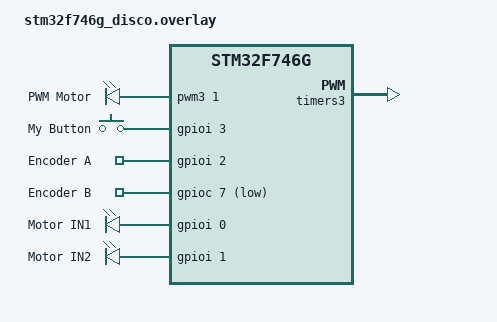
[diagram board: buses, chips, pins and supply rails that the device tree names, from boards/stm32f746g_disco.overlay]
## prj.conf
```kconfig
CONFIG_GPIO=y
CONFIG_CONSOLE=y
CONFIG_UART_CONSOLE=y
CONFIG_MAIN_THREAD_PRIORITY=5
CONFIG_THREAD_NAME=y
CONFIG_PWM=y
CONFIG_UART_LINE_CTRL=y
CONFIG_SERIAL=y
CONFIG_UART_INTERRUPT_DRIVEN=y
CONFIG_MAIN_THREAD_PRIORITY=5
CONFIG_THREAD_NAME=y
CONFIG_SYSTEM_WORKQUEUE_STACK_SIZE=1024
CONFIG_SENSOR=y
CONFIG_QDEC_STM32=y           # STM32 quadrature decoder driver
CONFIG_CBPRINTF_FP_SUPPORT=y
CONFIG_SYS_CLOCK_TICKS_PER_SEC=1000
```

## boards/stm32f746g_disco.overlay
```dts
/ {
    aliases {
        pwm-motor = &motor_pwm;    
        e-stop = &my_button;
        motor-in1 = &motor_in1_node;
        motor-in2 = &motor_in2_node;
        encoder-a = &encoder_a_node;
        encoder-b = &encoder_b_node;
    };

    pwmleds {
        compatible = "pwm-leds";
        motor_pwm: pwm_motor_node {
            pwms = <&pwm3 1 PWM_MSEC(20) PWM_POLARITY_NORMAL>;
            label = "PWM Motor";
        };
    };

    buttons {
        compatible = "gpio-keys";
        my_button: my_button_0 {
            gpios = <&gpioi 3 (GPIO_ACTIVE_HIGH | GPIO_PULL_UP)>;
            label = "My Button";
        };

        encoder_a_node: encoder_a {
            gpios = <&gpioi 2 (GPIO_ACTIVE_HIGH | GPIO_PULL_UP)>;  /* PC7 = D0 */
            label = "Encoder A";
        };
        encoder_b_node: encoder_b {
            gpios = <&gpioc 7 (GPIO_ACTIVE_LOW | GPIO_PULL_UP)>;  /* PI2 = D8 */
            label = "Encoder B";
        };
    };

    gpio_outs {
        compatible = "gpio-leds";
        motor_in1_node: motor_in1 {
            gpios = <&gpioi 0 GPIO_ACTIVE_HIGH>;   /* PI0 — D5 */
            label = "Motor IN1";
        };
        motor_in2_node: motor_in2 {
            gpios = <&gpioi 1 GPIO_ACTIVE_HIGH>;   /* PI1 — D13 */
            label = "Motor IN2";
        };
        
    };
};

&timers3 {
    status = "okay";
    pwm3: pwm {
        status = "okay";
        pinctrl-0 = <&tim3_ch1_pb4>;
        pinctrl-names = "default";
    };
};

&gpioi {
    status = "okay";
};
&gpiog {
    status = "okay";
};
```

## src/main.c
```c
#include <stdio.h>
#include <stdlib.h>
#include <zephyr/kernel.h>
#include <zephyr/drivers/gpio.h>
#include <zephyr/drivers/pwm.h>
#include <zephyr/drivers/uart.h>
#include <zephyr/device.h>
#include <zephyr/console/console.h>
#include <string.h>


static char rx_buf[50];

#define CONSOLE_STACK 1024

/* 1000 msec = 1 sec */
#define SLEEP_MSEC   50

// struct k_work myWork;
// struct k_work pwm_work;

int brightness =0;

int64_t end_time;
int64_t start_time;
int64_t total_time;

#define ENCODER_PPR          64      /* pulses per rev, motor shaft */
#define GEAR_RATIO           70      /* gearbox ratio */
#define PULSES_PER_OUT_REV   (ENCODER_PPR * GEAR_RATIO)  /* = 4480 */
#define PULSES_COUNTED       16       /* edges counted per ISR batch */
#define KP               0.3f
#define PLACEHOLDER_M   2.61f    // duty per RPM
#define PLACEHOLDER_B   -14.4f  // duty offset
#define PWM_PERIOD_NS    20000U  /* 50 kHz — adjust to your motor driver */



unsigned char uart;
static int rx_idx =0;
volatile bool rx_ready = false;
int8_t ticks;
/*
 * A build error on this line means your board is unsupported.
 * See the sample documentation for information on how to fix this. */


// static const struct gpio_dt_spec led = GPIO_DT_SPEC_GET(LED0_NODE, gpios);
// static const struct gpio_dt_spec btn = GPIO_DT_SPEC_GET(DT_ALIAS(sw0), gpios);

K_MSGQ_DEFINE(uart_msgq, 50, 4, 4);
K_MSGQ_DEFINE(en_msgq, sizeof(int), 1, 4);

K_MSGQ_DEFINE(target_rpm_msgq, sizeof(int), 1, 4);
K_MSGQ_DEFINE(ticks_msgq, sizeof(int64_t), 1, 4);

K_MSGQ_DEFINE(measured_rpm_msgq, sizeof(float), 1, 4);

K_MSGQ_DEFINE(output_msgq, sizeof(float), 1, 4);

K_MSGQ_DEFINE(btn_msgq, 38, 1, 4);

K_THREAD_STACK_DEFINE(console_stack, CONSOLE_STACK);
K_THREAD_STACK_DEFINE(consumer_stack, CONSOLE_STACK);

const struct device *const uart_dev = DEVICE_DT_GET(DT_CHOSEN(zephyr_console));
static const struct pwm_dt_spec motor = PWM_DT_SPEC_GET(DT_ALIAS(pwm_motor));
static const struct gpio_dt_spec in1 = GPIO_DT_SPEC_GET(DT_ALIAS(motor_in1), gpios);
static const struct gpio_dt_spec in2 = GPIO_DT_SPEC_GET(DT_ALIAS(motor_in2), gpios);
static const struct gpio_dt_spec btn = GPIO_DT_SPEC_GET(DT_ALIAS(e_stop), gpios);

static const struct gpio_dt_spec ena = GPIO_DT_SPEC_GET(DT_ALIAS(encoder_a), gpios);
static const struct gpio_dt_spec enb = GPIO_DT_SPEC_GET(DT_ALIAS(encoder_b), gpios);


K_SEM_DEFINE(rx_ready_sem, 0, 1);

static bool motor_enabled = true;
K_MUTEX_DEFINE(motor_enabled_mutex);   // unchanged
K_MUTEX_DEFINE(brightness_mutex);     // unchanged

static struct gpio_callback button_cb_data;
static struct gpio_callback encoder_cb_data;

// void my_work_handler(struct k_work *work) {
//     printk("Work processed\n");

// }

void button_pressed(const struct device *dev, struct gpio_callback *cb,
		    uint32_t pins)
{
    //    motor_enabled = false;
	   int local = 0;

	   k_msgq_put(&en_msgq, &local, K_NO_WAIT);
	   char printBuff[] = "ESTOP pressed! Enter RESET to enable.";
	   k_msgq_put(&btn_msgq, printBuff, K_NO_WAIT);

}

void ticks_isr(const struct device *dev, struct gpio_callback *cb, uint32_t pins)
{
	int64_t now = k_uptime_ticks();

    if (ticks == 0) {
        start_time = now;
    }

    ticks++;

    if (ticks >= 16) {
        int64_t elapsed = now - start_time;

        k_msgq_put(&ticks_msgq, &elapsed, K_NO_WAIT);
        ticks = 0;
        start_time = 0;
    }
}

void consumer_ticks() {
    int64_t time_elapsed;
	float target_rpm = 0;
	float measured_rpm = 0;

	while (1) {
        if (k_msgq_get(&ticks_msgq, &time_elapsed, K_FOREVER) == 0) {

            /* Convert elapsed ticks to seconds as a double */
            double elapsed_s = (double)time_elapsed / (double)CONFIG_SYS_CLOCK_TICKS_PER_SEC;

			measured_rpm = (float)(((double)PULSES_COUNTED
                                / (double)PULSES_PER_OUT_REV)
                                / elapsed_s * 60.0);

			//printk("Measured RPM = %d\n", (int)measured_rpm);
			k_msgq_purge(&measured_rpm_msgq);
			k_msgq_put(&measured_rpm_msgq, &measured_rpm, K_NO_WAIT);								
			int new_target;
            if (k_msgq_get(&target_rpm_msgq, &new_target, K_NO_WAIT) == 0) {
                target_rpm = (float)new_target;
            }

			/* 2. P control */
			float base_pwm = PLACEHOLDER_M * target_rpm + PLACEHOLDER_B;
			float error  = target_rpm - measured_rpm;
			float output = base_pwm + KP * error;

			if (output < 0.0f)   output = 0.0f;
			if (output > 100.0f) output = 100.0f;  

	// 		printk("target=%.1f measured=%.1f error=%.1f base=%.1f output=%.1f\n",
    //    (double)target_rpm, (double)measured_rpm, 
    //    (double)error, (double)base_pwm, (double)output);



			k_msgq_purge(&output_msgq);
			k_msgq_put(&output_msgq, &output, K_NO_WAIT);
			// k_msgq_overwrite(&output_msgq, &output);
            
        }
    }
}



static void uart_fifo_callback(const struct device *dev, void *user_data)
{
	uint8_t c;

	if(!uart_irq_update(uart_dev)) return;
    if(!uart_irq_rx_ready(uart_dev) ) return ;

	while(uart_fifo_read(uart_dev, &c,1)==1){

		uart_poll_out(uart_dev, c);

		if(c == '\r' || c == '\n'){

			rx_buf[rx_idx] = '\0';
			rx_idx=0;
			// rx_ready = true;
			k_msgq_put(&uart_msgq, rx_buf, K_NO_WAIT);
            k_sem_give(&rx_ready_sem);   

		}

		else if (rx_idx < sizeof(rx_buf)-1){
			rx_buf[rx_idx++] = c;
		}
	}
}


void console_thread(void *p1, void *p2, void *p3)
{
	char uart_rpm[10];
	float measured;


	printk("Enter target rpm: \n");

	k_sem_take(&rx_ready_sem, K_FOREVER);
    k_msgq_get(&uart_msgq, uart_rpm, K_NO_WAIT);

    int rpm = atoi(uart_rpm);
    if (rpm < 0 || rpm > 150) {
        printk("Invalid rpm, defaulting to 0\n");
        rpm = 0;
    }

    k_msgq_put(&target_rpm_msgq, &rpm, K_FOREVER);
    printk("Target RPM = %d\n", rpm);

	
	while(1){
        // if(k_msgq_get(&measured_rpm_msgq, &measured, K_NO_WAIT)==0)
        // // 	printk("Measured RPM = %f\n", measured);

		// k_sem_take(&rx_ready_sem, K_FOREVER);
		// k_msgq_get(&uart_msgq, uart_rpm, K_MSEC(2000));
        // // sscanf(buffer, "%9s %9s", duty_cycle, uart_rpm);
        
		// bool reset = strcmp(uart_rpm, "RESET") == 0;

		// if(reset) {
		// 	k_mutex_lock(&motor_enabled_mutex, K_FOREVER);
		// 	motor_enabled = true;
		// 	k_mutex_unlock(&motor_enabled_mutex);
		// 	printk("Motor reset. You can now set duty cycle.\n");
		// 	continue;

		// } 
			
		// // int duty = atoi(duty_cycle);

        // int rpm = atoi(uart_rpm);

		// // duty = 100 - duty;

		// // if(duty < 0 || duty > 100){
		// // 	printk("invalid duty cycle\n");
		// // 	continue;
		// // }

        // if(rpm < 0 || rpm > 150) {
        //     printk("Invalid rpm\n");
        //     continue;
        // }

        // k_mutex_lock(&motor_enabled_mutex, K_FOREVER);   // CHANGE: added
        // bool enabled = motor_enabled;
        // k_mutex_unlock(&motor_enabled_mutex);            // CHANGE: added

		// if(!enabled){
		// 	printk("Motor disabled! Press RESET to enable.\n");
		// 	continue;
		// }

	    // k_msgq_put(&en_msgq, &duty, K_NO_WAIT);  

	    // if(k_msgq_put(&target_rpm_msgq, &rpm, K_NO_WAIT) == 0)
		if (k_msgq_get(&measured_rpm_msgq, &measured, K_FOREVER) == 0) {
            printk("Target rpm = %d, Measured RPM = %d\n", rpm, (int)measured);
        }

	}
}


int main(void)
{
   int ret;
	// console_init();

	// task 2: device is ready checks

	gpio_pin_configure_dt(&in1, GPIO_OUTPUT_ACTIVE);
	gpio_pin_configure_dt(&in2, GPIO_OUTPUT_ACTIVE);

    ret = gpio_pin_configure_dt(&ena, GPIO_INPUT);
    if(ret < 0) return 0;

	
	ret = gpio_pin_interrupt_configure_dt(&ena, GPIO_INT_EDGE_TO_ACTIVE);
    if(ret < 0) return 0;

	if (!device_is_ready(uart_dev) ||
	    !pwm_is_ready_dt(&motor) ||
	    !device_is_ready(btn.port)) {
		return 0;
	}



	ret = gpio_pin_configure_dt(&btn, GPIO_INPUT);


	if (ret < 0) {
		return 0;
	}

    ret = gpio_pin_interrupt_configure_dt(&btn, GPIO_INT_EDGE_TO_ACTIVE);
    if (ret < 0) {
		return 0;
	}

    gpio_init_callback(&button_cb_data, button_pressed, BIT(btn.pin));
	gpio_add_callback(btn.port, &button_cb_data);

    gpio_init_callback(&encoder_cb_data, ticks_isr, BIT(ena.pin));
    gpio_add_callback(ena.port, &encoder_cb_data);


	//uint32_t pulse = 1000;
	// k_work_init(&pwm_work, update_pwm_handler);

	uart_irq_callback_set(uart_dev, uart_fifo_callback);
	uart_irq_rx_enable(uart_dev);

	struct k_thread console_thread_data;

	k_thread_create(&console_thread_data, console_stack,
                    K_THREAD_STACK_SIZEOF(console_stack),
                    console_thread, NULL, NULL, NULL,
                    5, 0, K_NO_WAIT);
	
    
	struct k_thread consumer_thread_data;

	k_thread_create(&consumer_thread_data, consumer_stack,
                    K_THREAD_STACK_SIZEOF(consumer_stack),
                    consumer_ticks, NULL, NULL, NULL,
                    3, 0, K_NO_WAIT);

	char printBuff[37];
	float output = 90;
	int local_pwm = 90;




	while (1) {

		if(k_msgq_get(&btn_msgq, printBuff, K_NO_WAIT) == 0) {
			printk("%s\n", printBuff);

            k_mutex_lock(&motor_enabled_mutex, K_FOREVER);   // CHANGE: added
            motor_enabled = false;
            k_mutex_unlock(&motor_enabled_mutex);            // CHANGE: added
		}

        k_msgq_get(&en_msgq, &local_pwm, K_NO_WAIT);

        // int local_target_rpm = 0;
        // k_msgq_get(&target_rpm_msgq, &local_target_rpm, K_NO_WAIT);

		int got_output = k_msgq_get(&output_msgq, &output, K_NO_WAIT);
		local_pwm = (int)output;
		// printk("PWM applying: %d (got=%d)\n", local_pwm, got_output);

        bool local_enabled;
        k_mutex_lock(&motor_enabled_mutex, K_FOREVER);   // CHANGE: added
        local_enabled = motor_enabled;
        k_mutex_unlock(&motor_enabled_mutex);            // CHANGE: added


		if(local_enabled){
			gpio_pin_set_dt(&in1,0);
			gpio_pin_set_dt(&in2, 1);
            pwm_set_pulse_dt(&motor, local_pwm * motor.period / 100);
        } else {
            pwm_set_pulse_dt(&motor, 0);
        }

       k_sleep(K_MSEC(20));

	}
	return 0;
}
```

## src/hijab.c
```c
#include <stdio.h>
#include <stdlib.h>
#include <zephyr/kernel.h>
#include <zephyr/drivers/gpio.h>
#include <zephyr/drivers/pwm.h>
#include <zephyr/drivers/uart.h>
#include <zephyr/device.h>
#include <zephyr/console/console.h>
#include <string.h>


static char rx_buf[50];

int freq = 0 ;
int rpm=0;
const int PPR = 64;
const int gear_ratio = 70;
const int ppr = PPR * gear_ratio;
static int  target_rpm = 50; 

#define CONSOLE_STACK 1024
#define SLEEP_MSEC   50

// struct k_work myWork;
// struct k_work pwm_work;

int brightness =0;
unsigned char uart;
static int rx_idx =0;
volatile bool rx_ready = false;

// static const struct gpio_dt_spec led = GPIO_DT_SPEC_GET(LED0_NODE, gpios);
// static const struct gpio_dt_spec btn = GPIO_DT_SPEC_GET(DT_ALIAS(sw0), gpios);

K_MSGQ_DEFINE(uart_msgq, 50, 4, 4);
K_MSGQ_DEFINE(en_msgq, sizeof(int), 1, 4);

K_MSGQ_DEFINE(btn_msgq, 38, 1, 4);
//ticks
K_MSGQ_DEFINE(ticks_msgq, 10, 1, 4);

static int ticks=0;
uint32_t start_time = 0;
uint32_t end_time =0;
uint32_t total_time=0;

K_THREAD_STACK_DEFINE(console_stack, CONSOLE_STACK);
const struct device *const uart_dev = DEVICE_DT_GET(DT_CHOSEN(zephyr_console));
static const struct pwm_dt_spec motor = PWM_DT_SPEC_GET(DT_ALIAS(pwm_motor));
static const struct gpio_dt_spec in1 = GPIO_DT_SPEC_GET(DT_ALIAS(motor_in1), gpios);
static const struct gpio_dt_spec in2 = GPIO_DT_SPEC_GET(DT_ALIAS(motor_in2), gpios);
static const struct gpio_dt_spec btn = GPIO_DT_SPEC_GET(DT_ALIAS(e_stop), gpios);

// hw3 ---------------------------------------------------
static const struct gpio_dt_spec ena = GPIO_DT_SPEC_GET(DT_ALIAS(encoder_a), gpios);
static const struct gpio_dt_spec enb = GPIO_DT_SPEC_GET(DT_ALIAS(encoder_b), gpios);
// -------------------------------------------------------

K_SEM_DEFINE(rx_ready_sem, 0, 1);

static bool motor_enabled = true;
K_MUTEX_DEFINE(motor_enabled_mutex);  
K_MUTEX_DEFINE(brightness_mutex); 
K_MUTEX_DEFINE(target_rpm_mutex);   

static struct gpio_callback button_cb_data;

void button_pressed(const struct device *dev, struct gpio_callback *cb,
		    uint32_t pins)
{
    //    motor_enabled = false;
	int local=0;
	   

	   k_msgq_put(&en_msgq, &local, K_NO_WAIT);
	   char printBuff[] = "ESTOP pressed! Enter RESET to enable.";
	   k_msgq_put(&btn_msgq, printBuff, K_NO_WAIT);

}

void ticks_isr(const struct device *dev, struct gpio_callback *cb, uint32_t pins)
{
		
		ticks++;

		if(ticks==8) { 

			end_time = k_cycle_get_32();
			total_time = end_time - start_time;
			start_time = end_time;
			ticks=0;

			k_msgq_put(&ticks_msgq, &total_time, K_FOREVER); 


		}

}

static void uart_fifo_callback(const struct device *dev, void *user_data)
{
	uint8_t duty_cycle;
	uint8_t uart_rpm;
	uint8_t c;

	if(!uart_irq_update(uart_dev)) return;
    if(!uart_irq_rx_ready(uart_dev) ) return ;

	while(uart_fifo_read(uart_dev, &c,1)==1){

		uart_poll_out(uart_dev, duty_cycle);
		uart_poll_out(uart_dev, uart_rpm);


		if(c == '\r' || c == '\n'){

			rx_buf[rx_idx] = '\0';
			// if (sscanf(rx_buf, "%c %c", &duty_cycle, &uart_rpm) == 2) {
			// 	printk("Received: duty cycle=%d, Var2=%d\n", duty_cycle, uart_rpm);
            // }
			
			rx_idx=0;
			// rx_ready = true;
			k_msgq_put(&uart_msgq, rx_buf, K_NO_WAIT);
            k_sem_give(&rx_ready_sem);   // CHANGE: signal after the put, not before

		}

		else if (rx_idx < sizeof(rx_buf)-1){
			rx_buf[rx_idx++] = c;

		}
	}
}


void console_thread(void *p1, void *p2, void *p3)
{
	// char buffer[50];
	char buffer_rpm[50];
	printk("Enter target RPM or RESET:\n");

	
	while(1){
		k_msgq_get(&uart_msgq, buffer_rpm, K_FOREVER);
        k_sem_take(&rx_ready_sem, K_FOREVER);

		if (strcmp(buffer_rpm, "RESET") == 0) {
            k_mutex_lock(&motor_enabled_mutex, K_FOREVER);
            motor_enabled = true;
            k_mutex_unlock(&motor_enabled_mutex);
            printk("Motor enabled.\n");
            continue;
        }

		int rpm_init = atoi(buffer_rpm);

        if (rpm_init <= 0 || rpm_init > 500) {
            printk("Invalid RPM. Enter 1-500.\n");
            continue;
        }

       k_mutex_lock(&motor_enabled_mutex, K_FOREVER);
        bool enabled = motor_enabled;
        k_mutex_unlock(&motor_enabled_mutex);

        if (!enabled) {
            printk("Motor disabled! Send RESET first.\n");
            continue;
        }

        k_mutex_lock(&target_rpm_mutex, K_FOREVER);
        target_rpm = rpm_init;
        k_mutex_unlock(&target_rpm_mutex);

        printk("Target RPM set to %d\n", rpm_init);


	}
}



// void console_thread(void *p1, void *p2, void *p3)
// {
//     char buffer[50];

//     printk("Console ready. Enter commands:\n");
//     printk("Format:\n");
//     printk("  D <0-100>   → Set Duty Cycle\n");
//     printk("  R <1-500>   → Set Target RPM\n");
//     printk("  RESET       → Enable motor\n");

//     while (1) {
//         // Wait for user input from UART message queue
//         k_msgq_get(&uart_msgq, buffer, K_FOREVER);
//         k_sem_take(&rx_ready_sem, K_FOREVER);

//         // Handle RESET
//         if (strcmp(buffer, "RESET") == 0) {
//             k_mutex_lock(&motor_enabled_mutex, K_FOREVER);
//             motor_enabled = true;
//             k_mutex_unlock(&motor_enabled_mutex);
//             printk("Motor reset and enabled.\n");
//             continue;
//         }

//         // Check command type (first character)
//         char cmd;
//         int value;
//         if (sscanf(buffer, "%c %d", &cmd, &value) != 2) {
//             printk("Invalid input format. Use 'D <0-100>' or 'R <1-500>' or 'RESET'.\n");
//             continue;
//         }

//         // Duty Cycle Command
//         if (cmd == 'D' || cmd == 'd') {
//             if (value < 0 || value > 100) {
//                 printk("Invalid duty cycle. Must be 0-100.\n");
//                 continue;
//             }

//             k_mutex_lock(&motor_enabled_mutex, K_FOREVER);
//             bool enabled = motor_enabled;
//             k_mutex_unlock(&motor_enabled_mutex);

//             if (!enabled) {
//                 printk("Motor disabled! Use RESET to enable.\n");
//                 continue;
//             }

//             k_mutex_lock(&brightness_mutex, K_FOREVER);
//             brightness = 100 - value; // Map user input to PWM logic if needed
//             k_mutex_unlock(&brightness_mutex);

//             printk("Duty cycle set to %d%%\n", value);
//         }
//         // RPM Command
//         else if (cmd == 'R' || cmd == 'r') {
//             if (value <= 0 || value > 500) {
//                 printk("Invalid RPM. Enter 1-500.\n");
//                 continue;
//             }

//             k_mutex_lock(&motor_enabled_mutex, K_FOREVER);
//             bool enabled = motor_enabled;
//             k_mutex_unlock(&motor_enabled_mutex);

//             if (!enabled) {
//                 printk("Motor disabled! Use RESET to enable.\n");
//                 continue;
//             }

//             k_mutex_lock(&target_rpm_mutex, K_FOREVER);
//             target_rpm = value;
//             k_mutex_unlock(&target_rpm_mutex);

//             printk("Target RPM set to %d\n", value);
//         }
//         else {
//             printk("Unknown command '%c'. Use D or R.\n", cmd);
//         }
//     }
// }

void consumer_ticks(void *p1, void *p2, void *p3)
{
    uint32_t ticks_time;
    float measured_rpm = 0;
    const uint32_t cycles_per_sec = sys_clock_hw_cycles_per_sec();
    float Kp = 2.5f;
     float m = 0.5f;  float b = 10.0f;  // placeholder will be replaced after characterization


    while (1) {
        k_msleep(100);
    
        if (k_msgq_get(&ticks_msgq, &ticks_time, K_NO_WAIT) == 0 && ticks_time > 0) {

            // measured_rpm = (int)(
            //     ((uint64_t)PULSE_BATCH * (uint64_t)cycles_per_sec * 60ULL)
            //     / ((uint64_t)ENCODER_PPR * (uint64_t)elapsed))
            float time_sec = (float)ticks_time / (float)cycles_per_sec;
            float f_pulse = 8.0f / time_sec;
            measured_rpm = (f_pulse * 60.0f) / ppr;

            printk("Measured RPM: %.2f\n", (double)measured_rpm);
        }

        k_mutex_lock(&target_rpm_mutex, K_FOREVER);
        int local_target = target_rpm;
        k_mutex_unlock(&target_rpm_mutex);

        
        k_mutex_lock(&motor_enabled_mutex, K_FOREVER);
        bool enabled = motor_enabled;
        k_mutex_unlock(&motor_enabled_mutex);

        if (!enabled) {
            k_mutex_lock(&brightness_mutex, K_FOREVER);
            brightness = 0;
            k_mutex_unlock(&brightness_mutex);
            printk(" Motor disabled\n");
            continue;
        }
        ////P-controller
        float base_pwm = m * local_target + b;
        float error = local_target - measured_rpm;
        float pwm = base_pwm + (Kp * error);

        if (pwm < 0) pwm = 0;
        if (pwm > 100) pwm = 100;

        k_mutex_lock(&brightness_mutex, K_FOREVER);
        brightness = pwm;
        k_mutex_unlock(&brightness_mutex);

        printk("Target RPM=%d, Measured=%.2f, Error=%.2f, PWM=%.2f%%\n", local_target, measured_rpm, error, pwm);
    }
}

int main(void)
{
   int ret;
	gpio_pin_configure_dt(&in1, GPIO_OUTPUT_ACTIVE);
	gpio_pin_configure_dt(&in2, GPIO_OUTPUT_ACTIVE);



	if (!device_is_ready(uart_dev) ||
	    !pwm_is_ready_dt(&motor) ||
	    !device_is_ready(btn.port)) {
		return 0;
	}
	ret = gpio_pin_configure_dt(&btn, GPIO_INPUT);


	if (ret < 0) {
		return 0;
	}

    ret = gpio_pin_interrupt_configure_dt(&btn, GPIO_INT_EDGE_TO_ACTIVE);
    if (ret < 0) {
		return 0;
	}

    gpio_init_callback(&button_cb_data, button_pressed, BIT(btn.pin));
	gpio_add_callback(btn.port, &button_cb_data);

	//uint32_t pulse = 1000;
	// k_work_init(&pwm_work, update_pwm_handler);

	uart_irq_callback_set(uart_dev, uart_fifo_callback);
	uart_irq_rx_enable(uart_dev);

	struct k_thread console_thread_data;

	k_thread_create(&console_thread_data, console_stack,
                    K_THREAD_STACK_SIZEOF(console_stack),
                    console_thread, NULL, NULL, NULL,
                    5, 0, K_NO_WAIT);
	
	char printBuff[37];


	while (1) {

		if(k_msgq_get(&btn_msgq, printBuff, K_FOREVER) == 0) {
			printk("%s\n", printBuff);

            k_mutex_lock(&motor_enabled_mutex, K_FOREVER);   // CHANGE: added
            motor_enabled = false;
            k_mutex_unlock(&motor_enabled_mutex);            // CHANGE: added
		}

		
        int local_en = 0;
        k_msgq_get(&en_msgq, &local_en, K_NO_WAIT);

		int local_brightness;
        k_mutex_lock(&brightness_mutex, K_FOREVER);   // CHANGE: added
        local_brightness = brightness;
        k_mutex_unlock(&brightness_mutex);            // CHANGE: added

        bool local_enabled;
        k_mutex_lock(&motor_enabled_mutex, K_FOREVER);   // CHANGE: added
        local_enabled = motor_enabled;
        k_mutex_unlock(&motor_enabled_mutex);            // CHANGE: added

		if (local_enabled) {
            gpio_pin_set_dt(&in1, 0);
            gpio_pin_set_dt(&in2, 1);
            pwm_set_pulse_dt(&motor, local_brightness * motor.period / 100);
        } else {
            pwm_set_pulse_dt(&motor, 0);
        }
    }


	return 0;
}
```

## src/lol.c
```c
#include <stdio.h>
#include <stdlib.h>
#include <zephyr/kernel.h>
#include <zephyr/drivers/gpio.h>
#include <zephyr/drivers/pwm.h>
#include <zephyr/drivers/uart.h>
#include <zephyr/device.h>
#include <zephyr/console/console.h>
#include <string.h>

static char rx_buf[50];

int freq = 0;
int rpm = 0;
const int PPR = 64;
const int gear_ratio = 70;
const int ppr = PPR * gear_ratio;
static int target_rpm = 50;

#define CONSOLE_STACK 1024
#define CONSUMER_STACK 1024      
// #define SLEEP_MSEC 50

int brightness = 0;
unsigned char uart;
static int rx_idx = 0;
volatile bool rx_ready = false;

K_MSGQ_DEFINE(uart_msgq, 50, 4, 4);
K_MSGQ_DEFINE(en_msgq, sizeof(int), 1, 4);

K_MSGQ_DEFINE(btn_msgq, 38, 1, 4);
//ticks
K_MSGQ_DEFINE(ticks_msgq, sizeof(uint32_t), 4, 4); 


static volatile int ticks = 0;
uint32_t start_time = 0;
uint32_t end_time = 0;
uint32_t total_time = 0;

K_THREAD_STACK_DEFINE(console_stack, CONSOLE_STACK);
K_THREAD_STACK_DEFINE(consumer_stack, CONSUMER_STACK); // FIX 1: add consumer stack

const struct device *const uart_dev = DEVICE_DT_GET(DT_CHOSEN(zephyr_console));
static const struct pwm_dt_spec motor = PWM_DT_SPEC_GET(DT_ALIAS(pwm_motor));
static const struct gpio_dt_spec in1 = GPIO_DT_SPEC_GET(DT_ALIAS(motor_in1), gpios);
static const struct gpio_dt_spec in2 = GPIO_DT_SPEC_GET(DT_ALIAS(motor_in2), gpios);
static const struct gpio_dt_spec btn = GPIO_DT_SPEC_GET(DT_ALIAS(e_stop), gpios);

// hw3 ---------------------------------------------------
static const struct gpio_dt_spec ena = GPIO_DT_SPEC_GET(DT_ALIAS(encoder_a), gpios);
static const struct gpio_dt_spec enb = GPIO_DT_SPEC_GET(DT_ALIAS(encoder_b), gpios);

K_SEM_DEFINE(rx_ready_sem, 0, 1);

static bool motor_enabled = true;
K_MUTEX_DEFINE(motor_enabled_mutex);
K_MUTEX_DEFINE(brightness_mutex);
K_MUTEX_DEFINE(target_rpm_mutex);

static struct gpio_callback button_cb_data;
static struct gpio_callback enc_a_cb_data;  // FIX 4: callbacks for encoder were
static struct gpio_callback enc_b_cb_data;  // missing entirely
static struct k_thread consumer_thread_data; // FIX 1: thread data struct

void button_pressed(const struct device *dev, struct gpio_callback *cb, uint32_t pins)
{
    int local = 0;
    k_msgq_put(&en_msgq, &local, K_NO_WAIT);
    char printBuff[] = "ESTOP pressed! Enter RESET to enable.";
    k_msgq_put(&btn_msgq, printBuff, K_NO_WAIT);
}

void ticks_isr(const struct device *dev, struct gpio_callback *cb, uint32_t pins)
{
    ticks++;

    if (ticks == 8) {
        end_time = k_cycle_get_32();
        total_time = end_time - start_time;
        start_time = end_time;
        ticks = 0;

        // K_FOREVER in an ISR will deadlock the system if queue is full.
        k_msgq_put(&ticks_msgq, &total_time, K_NO_WAIT);
    }
}

static void uart_fifo_callback(const struct device *dev, void *user_data)
{
    // FIX 7: removed uart_poll_out of uninitialized variables duty_cycle and
    // uart_rpm — these were garbage values being echoed back on every character,
    // corrupting UART output
    uint8_t c;

    if (!uart_irq_update(uart_dev)) return;
    if (!uart_irq_rx_ready(uart_dev)) return;

    while (uart_fifo_read(uart_dev, &c, 1) == 1) {
        if (c == '\r' || c == '\n') {
            rx_buf[rx_idx] = '\0';
            rx_idx = 0;
            k_msgq_put(&uart_msgq, rx_buf, K_NO_WAIT);
            k_sem_give(&rx_ready_sem);
        } else if (rx_idx < sizeof(rx_buf) - 1) {
            rx_buf[rx_idx++] = c;
        }
    }
}

void console_thread(void *p1, void *p2, void *p3)
{
    char buffer_rpm[50];
    printk("Enter target RPM or RESET:\n");

    while (1) {
        k_msgq_get(&uart_msgq, buffer_rpm, K_FOREVER);
        k_sem_take(&rx_ready_sem, K_FOREVER);

        if (strcmp(buffer_rpm, "RESET") == 0) {
            k_mutex_lock(&motor_enabled_mutex, K_FOREVER);
            motor_enabled = true;
            k_mutex_unlock(&motor_enabled_mutex);
            printk("Motor enabled.\n");
            continue;
        }

        int rpm_init = atoi(buffer_rpm);

        if (rpm_init <= 0 || rpm_init > 500) {
            printk("Invalid RPM. Enter 1-500.\n");
            continue;
        }

        k_mutex_lock(&motor_enabled_mutex, K_FOREVER);
        bool enabled = motor_enabled;
        k_mutex_unlock(&motor_enabled_mutex);

        if (!enabled) {
            printk("Motor disabled! Send RESET first.\n");
            continue;
        }

        k_mutex_lock(&target_rpm_mutex, K_FOREVER);
        target_rpm = rpm_init;
        k_mutex_unlock(&target_rpm_mutex);

        printk("Target RPM set to %d\n", rpm_init);
    }
}

void consumer_ticks(void *p1, void *p2, void *p3)
{
    uint32_t ticks_time;
    float measured_rpm = 0;
    const uint32_t cycles_per_sec = sys_clock_hw_cycles_per_sec();
    float Kp = 2.5f;
    float m = 0.5f;  //placeholder
    float b = 10.0f;  //placeholder

    while (1) {
        k_msleep(100);

        if (k_msgq_get(&ticks_msgq, &ticks_time, K_NO_WAIT) == 0 && ticks_time > 0) {
            float time_sec = (float)ticks_time / (float)cycles_per_sec;
            float f_pulse = 8.0f / time_sec;
            measured_rpm = (f_pulse * 60.0f) / ppr;
            printk("Measured RPM: %.2f\n", (double)measured_rpm);
        }

        k_mutex_lock(&target_rpm_mutex, K_FOREVER);
        int local_target = target_rpm;
        k_mutex_unlock(&target_rpm_mutex);

        k_mutex_lock(&motor_enabled_mutex, K_FOREVER);
        bool enabled = motor_enabled;
        k_mutex_unlock(&motor_enabled_mutex);

        if (!enabled) {
            k_mutex_lock(&brightness_mutex, K_FOREVER);
            brightness = 0;
            k_mutex_unlock(&brightness_mutex);
            printk("Motor disabled\n");
            continue;
        }

        float base_pwm = m * local_target + b;
        float error = local_target - measured_rpm;
        float pwm = base_pwm + (Kp * error);

        if (pwm < 0) pwm = 0;
        if (pwm > 100) pwm = 100;

        k_mutex_lock(&brightness_mutex, K_FOREVER);
        brightness = (int)pwm;  
        k_mutex_unlock(&brightness_mutex);

        printk("Target RPM=%d, Measured=%.2f, Error=%.2f, PWM=%.2f%%\n",
               local_target, (double)measured_rpm, (double)error, (double)pwm);
    }
}

int main(void)
{
    int ret;
    gpio_pin_configure_dt(&in1, GPIO_OUTPUT_ACTIVE);
    gpio_pin_configure_dt(&in2, GPIO_OUTPUT_ACTIVE);

    if (!device_is_ready(uart_dev) ||
        !pwm_is_ready_dt(&motor) ||
        !device_is_ready(btn.port)) {
        return 0;
    }

    // --- E-STOP button setup (unchanged) ---
    ret = gpio_pin_configure_dt(&btn, GPIO_INPUT);
    if (ret < 0) return 0;

    ret = gpio_pin_interrupt_configure_dt(&btn, GPIO_INT_EDGE_TO_ACTIVE);
    if (ret < 0) return 0;

    gpio_init_callback(&button_cb_data, button_pressed, BIT(btn.pin));
    gpio_add_callback(btn.port, &button_cb_data);


    ret = gpio_pin_configure_dt(&ena, GPIO_INPUT);
    if (ret < 0) return 0;
    ret = gpio_pin_interrupt_configure_dt(&ena, GPIO_INT_EDGE_TO_ACTIVE);
    if (ret < 0) return 0;
    gpio_init_callback(&enc_a_cb_data, ticks_isr, BIT(ena.pin));
    gpio_add_callback(ena.port, &enc_a_cb_data);

    ret = gpio_pin_configure_dt(&enb, GPIO_INPUT);
    if (ret < 0) return 0;
    ret = gpio_pin_interrupt_configure_dt(&enb, GPIO_INT_EDGE_TO_ACTIVE);
    if (ret < 0) return 0;
    gpio_init_callback(&enc_b_cb_data, ticks_isr, BIT(enb.pin));
    gpio_add_callback(enb.port, &enc_b_cb_data);


    ////////////////
    start_time = k_cycle_get_32();

    uart_irq_callback_set(uart_dev, uart_fifo_callback);
    uart_irq_rx_enable(uart_dev);

    struct k_thread console_thread_data;
    k_thread_create(&console_thread_data, console_stack,
                    K_THREAD_STACK_SIZEOF(console_stack),
                    console_thread, NULL, NULL, NULL,
                    5, 0, K_NO_WAIT);


    k_thread_create(&consumer_thread_data, consumer_stack,
                    K_THREAD_STACK_SIZEOF(consumer_stack),
                    consumer_ticks, NULL, NULL, NULL,
                    5, 0, K_NO_WAIT);

    char printBuff[38]; 

    while (1) {
        //  K_FOREVER — blocked here permanently, motor PWM never
        // updated until E-stop pressed. Changed to K_NO_WAIT + sleep.
        if (k_msgq_get(&btn_msgq, printBuff, K_NO_WAIT) == 0) {
            printk("%s\n", printBuff);
            k_mutex_lock(&motor_enabled_mutex, K_FOREVER);
            motor_enabled = false;
            k_mutex_unlock(&motor_enabled_mutex);
        }

        int local_brightness;
        k_mutex_lock(&brightness_mutex, K_FOREVER);
        local_brightness = brightness;
        k_mutex_unlock(&brightness_mutex);

        bool local_enabled;
        k_mutex_lock(&motor_enabled_mutex, K_FOREVER);
        local_enabled = motor_enabled;
        k_mutex_unlock(&motor_enabled_mutex);

        if (local_enabled) {
            gpio_pin_set_dt(&in1, 0);
            gpio_pin_set_dt(&in2, 1);
            pwm_set_pulse_dt(&motor, local_brightness * motor.period / 100);
        } else {
            pwm_set_pulse_dt(&motor, 0);
        }

        // k_msleep(50); 
    }

    return 0;
}
```

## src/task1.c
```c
#include <zephyr/kernel.h>
#include <zephyr/sys/printk.h>

int main(void)
{
printk("------------------------------------------\n");
printk("STM32F746G Discovery Console Initialized\n");
printk("Device Booted Successfully\n");
printk("------------------------------------------\n");

int counter = 0;

while (1) {
printk("Heartbeat count: %d\n", counter++);
k_msleep(1000); // 1 second delay
}
return 0;
}
```
